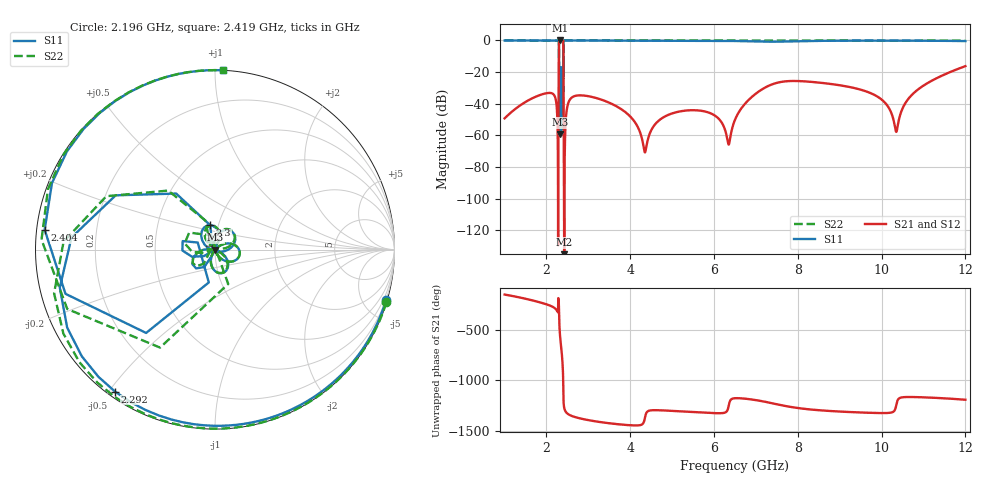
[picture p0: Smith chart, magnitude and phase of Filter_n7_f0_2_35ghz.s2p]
! Created Mon Nov 30 18:22:43 2015
# hz S ma R 50
! 2 Port Network Data from SP1.SP block
! freq  magS11  angS11  magS21  angS21  magS12  angS12  magS22  angS22
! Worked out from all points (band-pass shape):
!   11001 points, 1 GHz to 12 GHz, reference 50 ohm
!   highest |S21| = -0.01 dB at 2.328 GHz (marker M1); lowest = -173.4 dB at 2.423 GHz (marker M2)
!   |S21| within 3 dB of the highest: 2.298 GHz to 2.402 GHz (104 MHz wide, 4.42 % of centre)
!   lowest |S11| = -59.3 dB at 2.328 GHz (marker M3), VSWR 1.00, Z = 50.1 + j0.00665 ohm
!   |S11| at or under -10 dB: 2.299 GHz to 2.401 GHz (102.3 MHz wide, 4.35 % of centre)
!   |S22| runs from -59.6 to 0.0 dB; largest |S21 - S12| = 1e-12
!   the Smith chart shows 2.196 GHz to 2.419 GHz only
!   S11 on the Smith chart (normalised r, x): 2.196 GHz: 0.16, -7.00; 2.292 GHz: 0.02, -0.52; 2.3 GHz: 0.92, +0.25; 2.404 GHz: 0.02, +0.06; 2.419 GHz: 0.00, +1.04
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1e9  0.9998 118.3  0.003452 -151.8  0.003452 -151.8  1 117.7
1.704e9  0.9982 57.0  0.01586 146.4  0.01586 146.4  0.9996 55.1
2.196e9  0.9936 -16.3  0.0174 74.3  0.0174 74.3  0.9989 -17.1
2.292e9  0.9672 -125.2  0.05729 141.2  0.05729 141.2  0.9927 -124.5
2.3e9  0.1381 101.0  0.9454 6.1  0.9454 6.1  0.1702 108.2
2.328e9  0.001083 3.5  0.9993 139.2  0.9993 139.2  0.001044 19.8
2.353e9  0.07038 -52.8  0.9969 37.6  0.9969 37.6  0.07031 -53.0
2.404e9  0.9554 173.4  0.2316 -93.5  0.2316 -93.5  0.968 176.7
2.419e9  0.9999 87.6  8.811e-06 178.2  8.811e-06 178.2  1 87.6
2.423e9  1 79.1  2.13e-09 169.6  2.13e-09 169.6  1 79.1
2.465e9  0.9986 37.6  0.003743 128.2  0.003743 128.2  0.9998 38.0
2.834e9  0.9945 -30.0  0.01839 62.9  0.01839 62.9  0.9991 -25.8
4.347e9  0.9898 -119.3  0.0002915 65.8  0.0002915 65.8  0.9991 -97.8
4.667e9  0.9886 -131.2  0.002834 146.7  0.002834 146.7  0.9991 -105.6
6.346e9  0.967 159.5  0.000516 -175.5  0.000516 -175.5  0.9991 -131.2
6.5e9  0.9612 149.0  0.003119 -94.8  0.003119 -94.8  0.9991 -132.8
7.103e9  0.9239 83.6  0.02625 -120.9  0.02625 -120.9  0.9987 -138.4
7.537e9  0.9166 8.4  0.04708 -157.8  0.04708 -157.8  0.9979 -141.9
8.334e9  0.9679 -88.1  0.04898 152.7  0.04898 152.7  0.9978 -147.2
1.0167e10  0.9868 -159.6  0.007605 120.1  0.007605 120.1  0.9988 -156.8
1.0355e10  0.9863 -164.9  0.00131 -152.3  0.00131 -152.3  0.9988 -157.7
1.2e10  0.9543 129.3  0.1546 -110.0  0.1546 -110.0  0.9858 -165.2
